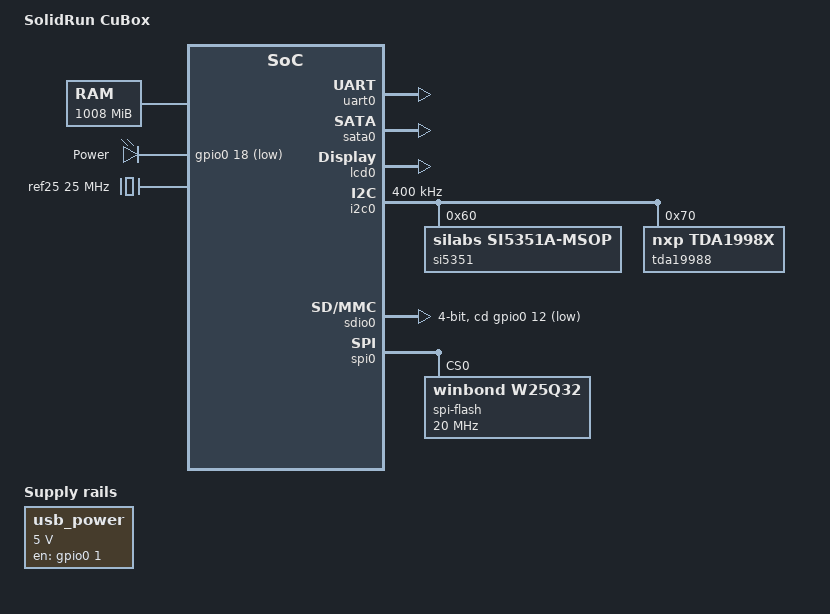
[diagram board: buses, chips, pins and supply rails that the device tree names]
/dts-v1/;

/include/ "dove.dtsi"

/ {
	compatible = "solidrun,cubox", "marvell,dove";
	model = "SolidRun CuBox";

	memory {
		device_type = "memory";
		reg = <0x00000000 0x3f000000>;
	};

	chosen {
		bootargs = "console=ttyS0,115200n8 earlyprintk";
		linux,stdout-path = &uart0;
	};

	leds {
		compatible = "gpio-leds";
		pinctrl-0 = <&pmx_gpio_18>;
		pinctrl-names = "default";

		power {
			label = "Power";
			gpios = <&gpio0 18 1>;
			linux,default-trigger = "default-on";
		};
	};

	regulators {
		compatible = "simple-bus";
		#address-cells = <1>;
		#size-cells = <0>;

		usb_power: regulator@1 {
			compatible = "regulator-fixed";
			reg = <1>;
			regulator-name = "USB Power";
			regulator-min-microvolt = <5000000>;
			regulator-max-microvolt = <5000000>;
			enable-active-high;
			regulator-always-on;
			regulator-boot-on;
			gpio = <&gpio0 1 0>;
		};
	};

	clocks {
		/* 25MHz reference crystal */
		ref25: oscillator {
			compatible = "fixed-clock";
			#clock-cells = <0>;
			clock-frequency = <25000000>;
		};
	};

	video-card {
		compatible = "marvell,dove-video-card";
		reg = <0x3f000000 0x1000000>;
		marvell,external-encoder = <&tda19988>;
	};
};

&uart0 { status = "okay"; };
&sata0 { status = "okay"; };

&lcd0 {
	status = "okay";
	clocks = <&si5351 0>;
};

&i2c0 {
	status = "okay";
	clock-frequency = <400000>;

	si5351: clock-generator {
		compatible = "silabs,si5351a-msop";
		reg = <0x60>;
		#address-cells = <1>;
		#size-cells = <0>;
		#clock-cells = <1>;

		/* connect xtal input to 25MHz reference */
		clocks = <&ref25>;

		/* connect xtal input as source of pll0 and pll1 */
		silabs,pll-source = <0 0>, <1 0>;

		clkout0 {
			reg = <0>;
			silabs,drive-strength = <8>;
			silabs,multisynth-source = <0>;
			silabs,clock-source = <0>;
			silabs,pll-master;
		};

		clkout1 {
			reg = <1>;
			silabs,drive-strength = <8>;
			silabs,multisynth-source = <1>;
			silabs,clock-source = <0>;
			silabs,pll-master;
		};

		clkout2 {
			reg = <2>;
			silabs,multisynth-source = <1>;
			silabs,clock-source = <0>;
		};
	};

	tda19988: hdmi-encoder@70 {
		compatible = "nxp,tda1998x";
		reg = <0x70>;
	};
};

&sdio0 {
	status = "okay";
	bus-width = <4>;
	/* sdio0 card detect is connected to wrong pin on CuBox */
	cd-gpios = <&gpio0 12 1>;
};

&spi0 {
	status = "okay";

	/* spi0.0: 4M Flash Winbond W25Q32BV */
	spi-flash@0 {
		compatible = "winbond,w25q32", "m25p80";
		spi-max-frequency = <20000000>;
		reg = <0>;
	};
};

&pinctrl {
	pinctrl-0 = <&pmx_gpio_1 &pmx_gpio_12>;
	pinctrl-names = "default";

	pmx_gpio_1: pmx-gpio-1 {
		marvell,pins = "mpp1";
		marvell,function = "gpio";
	};

	pmx_gpio_12: pmx-gpio-12 {
		marvell,pins = "mpp12";
		marvell,function = "gpio";
	};

	pmx_gpio_18: pmx-gpio-18 {
		marvell,pins = "mpp18";
		marvell,function = "gpio";
	};
};
